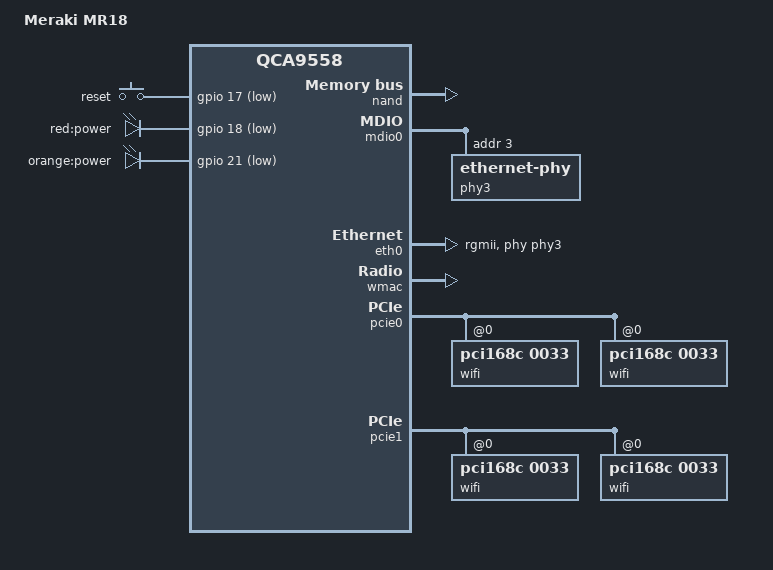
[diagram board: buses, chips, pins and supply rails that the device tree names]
// SPDX-License-Identifier: GPL-2.0-or-later OR MIT

#include "qca955x.dtsi"

#include <dt-bindings/gpio/gpio.h>
#include <dt-bindings/input/input.h>

/ {
	compatible = "meraki,mr18", "qca,qca9558";
	model = "Meraki MR18";

	chosen {
		bootargs = "console=ttyS0,115200n8 ubi.mtd=3,512";
	};

	aliases {
		led-boot = &led_power_white;
		led-failsafe = &led_power_orange;
		led-running = &led_power_white;
		led-upgrade = &led_power_orange;
	};

	keys {
		compatible = "gpio-keys";

		reset {
			label = "reset";
			linux,code = <KEY_RESTART>;
			gpios = <&gpio 17 GPIO_ACTIVE_LOW>;
		};
	};

	leds {
		compatible = "gpio-leds";

		led_power_white: power_white {
			label = "red:power";
			gpios = <&gpio 18 GPIO_ACTIVE_LOW>;
		};

		led_power_orange: power_orange {
			label = "orange:power";
			gpios = <&gpio 21 GPIO_ACTIVE_LOW>;
			default-state = "on";
		};
	};

	leds-nu801 {
		compatible = "numen,leds-nu801";

		tricolor {
			label = "tricolor";
			num_leds = <1>;
			cki = <11>;
			sdi = <12>;
			//lei = <1>;
			ndelay = <500>;
			init_brightness = <0 0 0>;
			default_trigger = "none";
			led_colors = "red green blue";
		};
	};
};

&nand {
	status = "okay";

	nand-ecc-mode = "soft";
    nand-ecc-algo = "bch";

		partitions {
		compatible = "fixed-partitions";
		#size-cells = <1>;

		partition@0 {
			label = "nandloader";
			reg = <0x0000000 0x0080000>;
			read-only;
		};

		partition@80000 {
			label = "kernel";
			reg = <0x0080000 0x0800000>;
		};

		partition@880000 {
			label = "recovery";
			reg = <0x0880000 0x0800000>;
		};

		partition@1080000 {
			label = "ubi";
			reg = <0x1080000 0x6f00000>;
		};

		partition@0x7fe0000 {
			label = "odm-caldata";
			reg = <0x7fe0000 0x0020000>;
		};
	};
};

&mdio0 {
	status = "okay";

	phy3: ethernet-phy@3 {
		reg = <3>;
		eee-broken-100tx;
		eee-broken-1000t;
	};
};

&eth0 {
	status = "okay";

	pll-data = <0xa6000000 0xa0000101 0x80001313>;

	phy-mode = "rgmii";
	phy-handle = <&phy3>;

	qca955x-serdes-fixup;

	gmac-config {
		device = <&gmac>;
		rxdv-delay = <3>;
		rxd-delay = <3>;
		rgmii-enabled = <1>;
		serdes-cal = <0xE>;
	};
};

&wmac {
	status = "okay";

	qca,no-eeprom;
};

&pcie0 {
	status = "okay";

	wifi@0,0 {
		compatible = "pci168c,0033";
		reg = <0x0000 0 0 0 0>;
		qca,no-eeprom;
		#gpio-cells = <2>;
		gpio-controller;
	};

	wifi@0,1 {
		compatible = "pci168c,0033";
		reg = <0x0000 0 0 0 0>;
		qca,no-eeprom;
		#gpio-cells = <2>;
		gpio-controller;
	};
};

&pcie1 {
	status = "okay";

	wifi@0,0 {
		compatible = "pci168c,0033";
		reg = <0x0000 0 0 0 0>;
		qca,no-eeprom;
		#gpio-cells = <2>;
		gpio-controller;
	};

	wifi@0,1 {
		compatible = "pci168c,0033";
		reg = <0x0000 0 0 0 0>;
		qca,no-eeprom;
		#gpio-cells = <2>;
		gpio-controller;
	};
};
